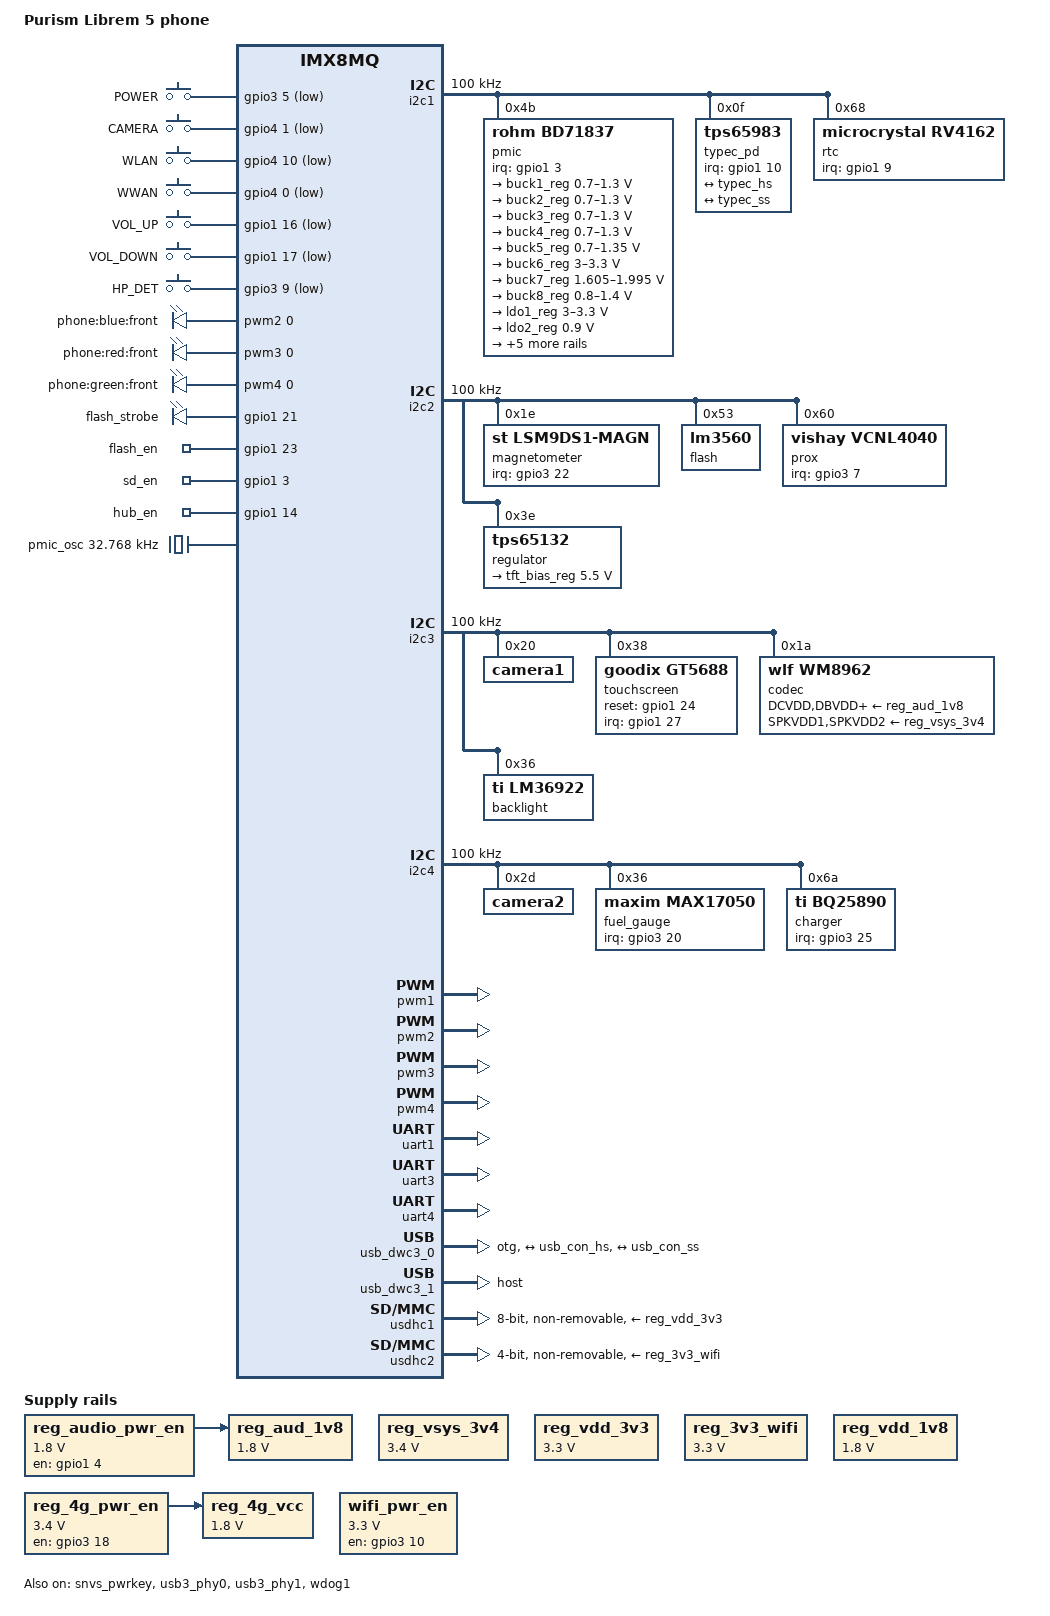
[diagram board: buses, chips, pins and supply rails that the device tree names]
// SPDX-License-Identifier: GPL-2.0+
/*
 * Copyright 2018-2019 Purism SPC
 */

/dts-v1/;

#include "dt-bindings/input/input.h"
#include "dt-bindings/pwm/pwm.h"
#include "dt-bindings/usb/pd.h"
#include "imx8mq.dtsi"

#define GPIO_CONTROL

/ {
	model = "Purism Librem 5 phone";
	compatible = "purism,librem5-phone", "fsl,imx8mq";

	chosen {
		stdout-path = &uart1;
	};

	gpio-keys {
		compatible = "gpio-keys";
		pinctrl-names = "default";
		pinctrl-0 = <&pinctrl_keys>, <&pinctrl_hp>, <&pinctrl_hsw>;

		power {
			label = "POWER";
			gpios = <&gpio3 5 GPIO_ACTIVE_LOW>;
			wakeup-source;
			linux,code = <KEY_POWER>;
		};

		camera {
			label = "CAMERA";
			gpios = <&gpio4 1 GPIO_ACTIVE_LOW>;
			wakeup-source;
			linux,code = <KEY_CAMERA>;
		};

		wlan {
			label = "WLAN";
			gpios = <&gpio4 10 GPIO_ACTIVE_LOW>;
			wakeup-source;
			linux,code = <KEY_WLAN>;
		};

		wwan {
			label = "WWAN";
			gpios = <&gpio4 0 GPIO_ACTIVE_LOW>;
			wakeup-source;
			linux,code = <KEY_WWAN>;
		};

		vol_up {
			label = "VOL_UP";
			gpios = <&gpio1 16 GPIO_ACTIVE_LOW>;
			linux,code = <KEY_VOLUMEUP>;
		};

		vol_down {
			label = "VOL_DOWN";
			gpios = <&gpio1 17 GPIO_ACTIVE_LOW>;
			linux,code = <KEY_VOLUMEDOWN>;
		};

		hp-det {
			label = "HP_DET";
			gpios = <&gpio3 9 GPIO_ACTIVE_LOW>;
			wakeup-source;
			linux,code = <KEY_HP>;
		};
	};

        pwmleds {
                compatible = "pwm-leds";

                blue {
                        active-low;
                        label = "phone:blue:front";
                        max-brightness = <248>;
                        pwms = <&pwm2 0 50000>;
                };

		red {
                        active-low;
                        label = "phone:red:front";
                        max-brightness = <248>;
                        pwms = <&pwm3 0 50000>;
                };
 
		green {
                        active-low;
                        label = "phone:green:front";
                        max-brightness = <248>;
                        pwms = <&pwm4 0 50000>;
                };
        };

	leds {
		compatible = "gpio-leds";
		pinctrl-names = "default";
		pinctrl-0 = <&pinctrl_flash>,
#ifdef GPIO_CONTROL
			<&pinctrl_flash_pwr>, <&pinctrl_hub_pwr>, <&pinctrl_sd_pwr>
#endif
			;

		flash_strobe {
			label = "flash_strobe";
			gpios = <&gpio1 21 GPIO_ACTIVE_HIGH>;
			default-state = "off";
			linux,default-trigger = "flash";
		};
#ifdef GPIO_CONTROL
		flash_en {
			label = "flash_en";
			gpios = <&gpio1 23 GPIO_ACTIVE_HIGH>;
			default-state = "off";
		};

		sd_en {
			label = "sd_en";
			gpios = <&gpio1 3 GPIO_ACTIVE_HIGH>;
			default-state = "off";
		};

		hub_en {
			label = "hub_en";
			gpios = <&gpio1 14 GPIO_ACTIVE_HIGH>;
			default-state = "off";
		};
#endif
	};

	pmic_osc: clock-pmic {
		compatible = "fixed-clock";
		#clock-cells = <0>;
		clock-frequency = <32768>;
		clock-output-names = "pmic_osc";
	};

#if !defined( GPIO_CONTROL )
	reg_flash: regulator-flash {
		compatible = "regulator-fixed";
		pinctrl-names = "default";
		pinctrl-0 = <&pinctrl_flash_pwr>;
		regulator-name = "FLASH_EN";
		regulator-min-microvolt = <3300000>;
		regulator-max-microvolt = <3300000>;
		gpio = <&gpio1 23 GPIO_ACTIVE_HIGH>;
		enable-active-high;
	};

	reg_sd: regulator-sd {
		compatible = "regulator-fixed";
		pinctrl-names = "default";
		pinctrl-0 = <&pinctrl_sd_pwr>;
		regulator-name = "SD";
		regulator-min-microvolt = <3300000>;
		regulator-max-microvolt = <3300000>;
		gpio = <&gpio1 3 GPIO_ACTIVE_HIGH>;
		enable-active-high;
	};

	reg_hub: regulator-hub {
		compatible = "regulator-fixed";
		pinctrl-names = "default";
		pinctrl-0 = <&pinctrl_hub_pwr>;
		regulator-name = "HUB";
		regulator-min-microvolt = <3300000>;
		regulator-max-microvolt = <3300000>;
		gpio = <&gpio1 14 GPIO_ACTIVE_HIGH>;
		enable-active-high;
	};
#endif
	reg_audio_pwr_en: regulator-audio-pwr-en {
		compatible = "regulator-fixed";
		pinctrl-names = "default";
		pinctrl-0 = <&pinctrl_audiopwr>;
		regulator-name = "AUDIO_PWR_EN";
		regulator-min-microvolt = <1800000>;
		regulator-max-microvolt = <1800000>;
		gpio = <&gpio1 4 GPIO_ACTIVE_HIGH>;
		enable-active-high;
	};

	reg_aud_1v8: regulator-audio-v1v8 {
		compatible = "regulator-fixed";
		regulator-name = "aud_1v8";
		regulator-min-microvolt = <1800000>;
		regulator-max-microvolt = <1800000>;
		vin-supply = <&reg_audio_pwr_en>;
	};

	reg_vsys_3v4: regulator-vsys-3v4 {
		compatible = "regulator-fixed";
		regulator-name = "vsys_3v4";
		regulator-min-microvolt = <3400000>;
		regulator-max-microvolt = <3400000>;
		//vin-supply = <&reg_pwr_en>;
	};

	reg_vdd_3v3: regulator-vdd-3v3 {
		compatible = "regulator-fixed";
		regulator-name = "vdd_3v3";
		regulator-min-microvolt = <3300000>;
		regulator-max-microvolt = <3300000>;
	};

	reg_3v3_wifi: regulator-3v3-wifi {
		compatible = "regulator-fixed";
		regulator-name = "3v3_wifi";
		regulator-min-microvolt = <3300000>;
		regulator-max-microvolt = <3300000>;
	};

	reg_vdd_1v8: regulator-vdd-1v8 {
		compatible = "regulator-fixed";
		regulator-name = "vdd_1v8";
		regulator-min-microvolt = <1800000>;
		regulator-max-microvolt = <1800000>;
	};

	reg_4g_pwr_en: regulator-4g-pwr-en {
		compatible = "regulator-fixed";
		pinctrl-names = "default";
		pinctrl-0 = <&pinctrl_wwan_pwr>;
		regulator-name = "4g_pwr_en";
		regulator-min-microvolt = <3400000>;
		regulator-max-microvolt = <3400000>;
		gpio = <&gpio3 18 GPIO_ACTIVE_HIGH>;
		enable-active-high;
	};

	reg_4g_vcc: regulator-4g-vcc {
		compatible = "regulator-fixed";
		regulator-name = "4g_vcc";
		regulator-min-microvolt = <1800000>;
		regulator-max-microvolt = <1800000>;
		vin-supply = <&reg_4g_pwr_en>;
	};
/*
	reg_3v3_p: regulator-3v3-p {
		compatible = "regulator-fixed";
		regulator-name = "3v3_p";
		regulator-min-microvolt = <3300000>;
		regulator-max-microvolt = <3300000>;
		vin-supply = <&reg_pwr_en>;

		regulator-state-mem {
			regulator-on-in-suspend;
		};
	};

	reg_5v_p: regulator-5v-p {
		compatible = "regulator-fixed";
		regulator-name = "5v_p";
		regulator-min-microvolt = <5000000>;
		regulator-max-microvolt = <5000000>;
		vin-supply = <&reg_pwr_en>;

		regulator-state-mem {
			regulator-on-in-suspend;
		};
	};

	reg_22v4_p: regulator-22v4-p  {
		compatible = "regulator-fixed";
		regulator-name = "22v4_P";
		regulator-min-microvolt = <22400000>;
		regulator-max-microvolt = <22400000>;
		vin-supply = <&reg_pwr_en>;
	};

	reg_pwr_en: regulator-pwr-en {
		compatible = "regulator-fixed";
		pinctrl-names = "default";
		pinctrl-0 = <&pinctrl_pwr_en>;
		regulator-name = "PWR_EN";
		regulator-min-microvolt = <3300000>;
		regulator-max-microvolt = <3300000>;
		gpio = <&gpio1 8 GPIO_ACTIVE_HIGH>;
		enable-active-high;
		regulator-always-on;
	};

	reg_usdhc2_vmmc: regulator-usdhc2-vmmc {
		compatible = "regulator-fixed";
		pinctrl-names = "default";
		pinctrl-0 = <&pinctrl_usdhc2_pwr>;
		regulator-name = "VSD_3V3";
		regulator-min-microvolt = <3300000>;
		regulator-max-microvolt = <3300000>;
		gpio = <&gpio2 19 GPIO_ACTIVE_HIGH>;
		enable-active-high;
		regulator-always-on;
	};

	vibrator {
		compatible = "gpio-vibrator";
		pinctrl-names = "default";
		pinctrl-0 = <&pinctrl_haptic>;
	        enable-gpios = <&gpio5 4 GPIO_ACTIVE_LOW>;
		vcc-supply = <&reg_3v3_p>;
	};

*/
	wifi_pwr_en: regulator-wifi-en {
		compatible = "regulator-fixed";
		pinctrl-names = "default";
		pinctrl-0 = <&pinctrl_wifi_pwr>;
		regulator-name = "WIFI_EN";
		regulator-min-microvolt = <3300000>;
		regulator-max-microvolt = <3300000>;
		gpio = <&gpio3 10 GPIO_ACTIVE_HIGH>;
		enable-active-high;
		regulator-always-on;
	};
};

&clk {
	assigned-clocks = <&clk IMX8MQ_AUDIO_PLL1>, <&clk IMX8MQ_AUDIO_PLL2>;
	assigned-clock-rates = <786432000>, <722534400>;
};

&i2c1 {
	clock-frequency = <100000>;
	pinctrl-names = "default";
	pinctrl-0 = <&pinctrl_i2c1>;
	status = "okay";

	pmic: pmic@4b {
		compatible = "rohm,bd71837";
		reg = <0x4b>;
		pinctrl-names = "default";
		pinctrl-0 = <&pinctrl_pmic>;
		clocks = <&pmic_osc>;
		clock-names = "osc";
		clock-output-names = "pmic_clk";
		interrupt-parent = <&gpio1>;
		interrupts = <3 GPIO_ACTIVE_LOW>;
		interrupt-names = "irq";
		rohm,reset-snvs-powered;

		regulators {
			buck1_reg: BUCK1 {
				regulator-name = "buck1";
				regulator-min-microvolt = <700000>;
				regulator-max-microvolt = <1300000>;
				regulator-boot-on;
				regulator-ramp-delay = <1250>;
				rohm,dvs-run-voltage = <900000>;
				rohm,dvs-idle-voltage = <850000>;
				rohm,dvs-suspend-voltage = <800000>;
			};

			buck2_reg: BUCK2 {
				regulator-name = "buck2";
				regulator-min-microvolt = <700000>;
				regulator-max-microvolt = <1300000>;
				regulator-boot-on;
				regulator-ramp-delay = <1250>;
				rohm,dvs-run-voltage = <1000000>;
				rohm,dvs-idle-voltage = <900000>;
			};

			buck3_reg: BUCK3 {
				regulator-name = "buck3";
				regulator-min-microvolt = <700000>;
				regulator-max-microvolt = <1300000>;
				regulator-boot-on;
				rohm,dvs-run-voltage = <1000000>;
			};

			buck4_reg: BUCK4 {
				regulator-name = "buck4";
				regulator-min-microvolt = <700000>;
				regulator-max-microvolt = <1300000>;
				rohm,dvs-run-voltage = <1000000>;
			};

			buck5_reg: BUCK5 {
				regulator-name = "buck5";
				regulator-min-microvolt = <700000>;
				regulator-max-microvolt = <1350000>;
				regulator-boot-on;
			};

			buck6_reg: BUCK6 {
				regulator-name = "buck6";
				regulator-min-microvolt = <3000000>;
				regulator-max-microvolt = <3300000>;
				regulator-boot-on;
			};

			buck7_reg: BUCK7 {
				regulator-name = "buck7";
				regulator-min-microvolt = <1605000>;
				regulator-max-microvolt = <1995000>;
				regulator-boot-on;
			};

			buck8_reg: BUCK8 {
				regulator-name = "buck8";
				regulator-min-microvolt = <800000>;
				regulator-max-microvolt = <1400000>;
				regulator-boot-on;
			};

			ldo1_reg: LDO1 {
				regulator-name = "ldo1";
				regulator-min-microvolt = <3000000>;
				regulator-max-microvolt = <3300000>;
				regulator-boot-on;
				/* leave on for snvs power button */
				regulator-always-on;
			};

			ldo2_reg: LDO2 {
				regulator-name = "ldo2";
				regulator-min-microvolt = <900000>;
				regulator-max-microvolt = <900000>;
				regulator-boot-on;
				/* leave on for snvs power button */
				regulator-always-on;
			};

			ldo3_reg: LDO3 {
				regulator-name = "ldo3";
				regulator-min-microvolt = <1800000>;
				regulator-max-microvolt = <3300000>;
				regulator-boot-on;
			};

			ldo4_reg: LDO4 {
				regulator-name = "ldo4";
				regulator-min-microvolt = <900000>;
				regulator-max-microvolt = <1800000>;
				regulator-boot-on;
			};

			ldo5_reg: LDO5 {
				regulator-name = "ldo5";
				regulator-min-microvolt = <1800000>;
				regulator-max-microvolt = <3300000>;
			};

			ldo6_reg: LDO6 {
				regulator-name = "ldo6";
				regulator-min-microvolt = <900000>;
				regulator-max-microvolt = <1800000>;
				regulator-boot-on;
			};

			ldo7_reg: LDO7 {
				regulator-name = "ldo7";
				regulator-min-microvolt = <1800000>;
				regulator-max-microvolt = <3300000>;
				regulator-boot-on;
			};
		};
	};

	typec_pd: usb_pd@F {
		compatible = "tps65983";
		reg = <0xF>;
		pinctrl-names = "default";
		pinctrl-0 = <&pinctrl_typec>, <&pinctrl_tcpc>;
		interrupt-parent = <&gpio1>;
		interrupts = <10 IRQ_TYPE_LEVEL_LOW>;

		connector {
			compatible = "usb-c-connector";
			label = "USB-C";
			data-role = "dual";
			power-role = "dual";
			try-power-role = "sink";
			source-pdos = <PDO_FIXED(5000, 2000,
				PDO_FIXED_USB_COMM |
				PDO_FIXED_DUAL_ROLE |
				PDO_FIXED_DATA_SWAP )>;
			sink-pdos = <PDO_FIXED(5000, 2000, PDO_FIXED_USB_COMM |
				PDO_FIXED_DUAL_ROLE |
				PDO_FIXED_DATA_SWAP )
			     PDO_VAR(5000, 3000, 3000)>;
			op-sink-microwatt = <10000000>;

			ports {
				#address-cells = <1>;
				#size-cells = <0>;

				port@0 {
					reg = <0>;

					usb_con_hs: endpoint {
						remote-endpoint = <&typec_hs>;
					};
				};

				port@1 {
					reg = <1>;

					usb_con_ss: endpoint {
						remote-endpoint = <&typec_ss>;
					};
				};
			};
		};
	};

	rtc@68 {
		compatible = "microcrystal,rv4162";
		reg = <0x68>;
		pinctrl-names = "default";
		pinctrl-0 = <&pinctrl_rtc>;
		interrupt-parent = <&gpio1>;
		interrupts = <9 IRQ_TYPE_LEVEL_LOW>;
	};
};

&i2c2 {
	clock-frequency = <100000>;
	pinctrl-names = "default";
	pinctrl-0 = <&pinctrl_i2c2>;
	status = "okay";

	magnetometer@1e	{
		compatible = "st,lsm9ds1-magn";
		reg = <0x1e>;
		pinctrl-names = "default";
		pinctrl-0 = <&pinctrl_mag>;
		interrupt-parent = <&gpio3>;
		interrupts = <22 IRQ_TYPE_LEVEL_LOW>;
		//vdd-supply = <&reg_3v3_p>;
		//vddio-supply = <&reg_3v3_p>;
	};

	flash@53 {
		compatible = "lm3560";
		reg = <0x53>;
                flash@0 {
                        reg = <0x0>;
                        flash-timeout-us = <150000>;
                        flash-max-microamp = <320000>;
                        led-max-microamp = <60000>;
                        label = "lm3560:flash";
                };

                torch@1 {
                        reg = <0x1>;
                        led-max-microamp = <10000>;
                        label = "lm3560:torch";
                };

	};
		
	prox@60 {
		compatible = "vishay,vcnl4040", "vishay,vcnl4200";
		reg = <0x60>;
		pinctrl-0 = <&pinctrl_prox>;
		interrupt-parent = <&gpio3>;
		interrupts = <7 IRQ_TYPE_LEVEL_LOW>;
	};

	regulator@3e {
		compatible = "tps65132";
		reg = <0x3e>; 
		regulators {
			tft_bias_reg: tftbias {
				regulator-name = "tft_bias";
				regulator-min-microvolt = <5500000>;
				regulator-max-microvolt = <5500000>;
			};
		};
	};
};

&i2c3 {
	clock-frequency = <100000>;
	pinctrl-names = "default";
	pinctrl-0 = <&pinctrl_i2c3>;
	status = "okay";

	camera1@20 { /* just a placeholder for nuw */
		reg = <0x20>;
	};

	touchscreen@38 { /* just a placeholder for nuw */
		compatible = "goodix,gt5688";
		reg = <0x38>;
		pinctrl-names = "default";
		pinctrl-0 = <&pinctrl_tp>;
		interrupt-parent = <&gpio1>;
		interrupts = <27 IRQ_TYPE_LEVEL_LOW>;
		reset-gpios = <&gpio1 24 GPIO_ACTIVE_HIGH>;
		irq-gpios = <&gpio1 27 GPIO_ACTIVE_HIGH>;
		touchscreen-size-x = <720>;
		touchscreen-size-y = <1440>;
		//AVDD28-supply = <&reg_2v8_p>;
		//VDDIO-supply = <&reg_1v8_p>;
	};

        codec: wm8962@1a {
                compatible = "wlf,wm8962";
                reg = <0x1a>; /* 0x34 ? */
                clocks = <&clk IMX8MQ_CLK_SAI2_ROOT>;
                #sound-dai-cells = <0>;
                DCVDD-supply = <&reg_aud_1v8>;
                DBVDD-supply = <&reg_aud_1v8>;
                AVDD-supply = <&reg_aud_1v8>;
                CPVDD-supply = <&reg_aud_1v8>;
                MICVDD-supply = <&reg_aud_1v8>;
                PLLVDD-supply = <&reg_aud_1v8>;
                SPKVDD1-supply = <&reg_vsys_3v4>;
                SPKVDD2-supply = <&reg_vsys_3v4>;
                gpio-cfg = <
                        0x0000 /* 0:Default */
                        0x0000 /* 1:Default */
                        0x0000 /* 2:Default */
                        0x0000 /* 3:Default */
                        0x0000 /* 4:Default */
                        0x0000 /* 5:Default */
                >;
        };

	backlight@36 {
		compatible = "ti,lm36922";
		reg = <0x36>;
	};

};

&i2c4 {
	clock-frequency = <100000>;
	pinctrl-names = "default";
	pinctrl-0 = <&pinctrl_i2c4>;
	status = "okay";

	camera2@2d { /* just a placeholder for nuw */
		reg = <0x2d>;
	};

	fuel_gauge@36 {
		compatible = "maxim,max17050";
		interrupt-parent = <&gpio3>;
		interrupts = <20 IRQ_TYPE_LEVEL_LOW>;
		pinctrl-names = "default";
		pinctrl-0 = <&pinctrl_gauge>;
		reg = <0x36>;
		maxim,over-heat-temp = <700>;
		maxim,over-volt = <4500>;
	};

	charger@6a { /* bq25895 */
		compatible = "ti,bq25890";
		reg = <0x6a>;
		pinctrl-names = "default";
		pinctrl-0 = <&pinctrl_charger>;
		interrupt-parent = <&gpio3>;
		interrupts = <25 IRQ_TYPE_EDGE_FALLING>;
		ti,battery-regulation-voltage = <4192000>; /* 4.192V */
		ti,charge-current = <1600000>; /* 1.6A */
		ti,termination-current = <66000>;  /* 66mA */
		ti,precharge-current = <130000>; /* 130mA */
		ti,minimum-sys-voltage = <3000000>; /* 3V */
		ti,boost-voltage = <5000000>; /* 5V */
		ti,boost-max-current = <50000>; /* 50mA */
	};
};

&iomuxc {
	pinctrl_pmic_5v: pmic5vgrp {
		fsl,pins = <
			MX8MQ_IOMUXC_GPIO1_IO01_GPIO1_IO1	0x6 /* PMIC_5V */
		>;
	};

	pinctrl_ecspi1: spi1grp {
		fsl,pins = <
			MX8MQ_IOMUXC_ECSPI1_MOSI_ECSPI1_MOSI	0x83
			MX8MQ_IOMUXC_ECSPI1_MISO_ECSPI1_MISO	0x83
			MX8MQ_IOMUXC_ECSPI1_SS0_ECSPI1_SS0	0x19
			MX8MQ_IOMUXC_ECSPI1_SCLK_ECSPI1_SCLK	0x83
			MX8MQ_IOMUXC_UART4_RXD_GPIO5_IO28	0x19 /* SPI_SS1 */
		>;
	};

	pinctrl_uart1: uart1grp {
		fsl,pins = <
			MX8MQ_IOMUXC_UART1_RXD_UART1_DCE_RX	0x49
			MX8MQ_IOMUXC_UART1_TXD_UART1_DCE_TX	0x49
		>;
	};

	pinctrl_uart2: uart2grp {
		fsl,pins = <
			MX8MQ_IOMUXC_UART2_TXD_UART2_DCE_TX	0x49
			MX8MQ_IOMUXC_UART2_RXD_UART2_DCE_RX	0x49
		>;
	};

	pinctrl_uart3: uart3grp {
		fsl,pins = <
			MX8MQ_IOMUXC_UART3_RXD_UART3_DCE_RX	0x49
			MX8MQ_IOMUXC_UART3_TXD_UART3_DCE_TX	0x49
		>;
	};

	pinctrl_uart4: uart4grp {
		fsl,pins = <
			MX8MQ_IOMUXC_ECSPI2_SCLK_UART4_DCE_RX		0x49
			MX8MQ_IOMUXC_ECSPI2_MOSI_UART4_DCE_TX		0x49
			MX8MQ_IOMUXC_ECSPI2_MISO_UART4_DCE_CTS_B	0x49
			MX8MQ_IOMUXC_ECSPI2_SS0_UART4_DCE_RTS_B		0x49
		>;
	};

	pinctrl_sai2: sai2grp {
		fsl,pins = <
			MX8MQ_IOMUXC_SAI2_TXD0_SAI2_TX_DATA0	0xd6
			MX8MQ_IOMUXC_SAI2_TXFS_SAI2_TX_SYNC	0xd6
			MX8MQ_IOMUXC_SAI2_MCLK_SAI2_MCLK	0xd6
			MX8MQ_IOMUXC_SAI2_RXD0_SAI2_RX_DATA0	0xd6
			MX8MQ_IOMUXC_SAI2_TXC_SAI2_TX_BCLK	0xd6
		>;
	};

	pinctrl_sai3: sai3grp {
		fsl,pins = <
			MX8MQ_IOMUXC_SAI3_TXD_SAI3_TX_DATA0	0xd6
			MX8MQ_IOMUXC_SAI3_TXC_SAI3_TX_BCLK	0xd6
			MX8MQ_IOMUXC_SAI3_RXD_SAI3_RX_DATA0	0xd6
			MX8MQ_IOMUXC_SAI3_TXFS_SAI3_TX_SYNC	0xd6
		>;
	};

	pinctrl_sai6: sai6grp {
		fsl,pins = <
			MX8MQ_IOMUXC_SAI1_RXD5_SAI6_RX_DATA0	0xd6
			MX8MQ_IOMUXC_SAI1_RXD6_SAI6_RX_SYNC	0xd6
			MX8MQ_IOMUXC_SAI1_TXD4_SAI6_RX_BCLK     0xd6
			MX8MQ_IOMUXC_SAI1_TXD5_SAI6_TX_DATA0	0xd6
		>;
	};

	pinctrl_led_b: ledbgrp {
		fsl,pins = <
			MX8MQ_IOMUXC_SPDIF_RX_PWM2_OUT		0x06 /* LED_B */
		>;
	};

	pinctrl_led_g: ledggrp {
		fsl,pins = <
			MX8MQ_IOMUXC_SAI3_MCLK_PWM4_OUT		0x06 /* LED_G */
		>;
	};

	pinctrl_led_r: ledrgrp {
		fsl,pins = <
			MX8MQ_IOMUXC_SPDIF_TX_PWM3_OUT		0x06 /* LED_R */
		>;
	};

	pinctrl_mag: maggrp {
		fsl,pins = <
			MX8MQ_IOMUXC_SAI5_RXD1_GPIO3_IO22 	0x80 /* INT_MAG */
		>;
	};

	pinctrl_i2c1: i2c1grp {
		fsl,pins = <
			MX8MQ_IOMUXC_I2C1_SCL_I2C1_SCL		0x4000007f
			MX8MQ_IOMUXC_I2C1_SDA_I2C1_SDA		0x4000007f
		>;
	};

	pinctrl_i2c2: i2c2grp {
		fsl,pins = <
			MX8MQ_IOMUXC_I2C2_SCL_I2C2_SCL		0x4000007f
			MX8MQ_IOMUXC_I2C2_SDA_I2C2_SDA		0x4000007f
		>;
	};

	pinctrl_i2c3: i2c3grp {
		fsl,pins = <
			MX8MQ_IOMUXC_I2C3_SCL_I2C3_SCL		0x4000007f
			MX8MQ_IOMUXC_I2C3_SDA_I2C3_SDA		0x4000007f
		>;
	};
	
	pinctrl_i2c4: i2c4grp {
		fsl,pins = <
			MX8MQ_IOMUXC_I2C4_SCL_I2C4_SCL		0x4000007f
			MX8MQ_IOMUXC_I2C4_SDA_I2C4_SDA		0x4000007f
		>;
	};

	pinctrl_bt: btgrp {
		fsl,pins = <
			MX8MQ_IOMUXC_SAI3_RXC_GPIO4_IO29	0x83 /* BT_REG_ON */
		>;
	};

	pinctrl_charger: chargergrp {
		fsl,pins = <
			MX8MQ_IOMUXC_NAND_CE2_B_GPIO3_IO3	0x80 /* CHRG_INT */
			MX8MQ_IOMUXC_NAND_ALE_GPIO3_IO0		0x80 /* CHG_STATUS_B */
			MX8MQ_IOMUXC_NAND_CE1_B_GPIO3_IO2	0x83 /* CHG_EN */
			MX8MQ_IOMUXC_NAND_CE3_B_GPIO3_IO4	0x83 /* CHG_OTG_OUT_EN */	
		>;
	};

	pinctrl_gauge: gaugegrp {
		fsl,pins = <
			MX8MQ_IOMUXC_SAI5_RXC_GPIO3_IO20	0x80 /* BAT_LOW */
		>;
	};

	pinctrl_nfc: nfcgrp {
		fsl,pins = <
			MX8MQ_IOMUXC_SAI3_RXFS_GPIO4_IO28	0x83 /* NFC_EN */
			MX8MQ_IOMUXC_SAI1_TXC_GPIO4_IO11	0x80 /* NFC_IRQ */
		>;
	};

	pinctrl_hsw: hswgrp {
		fsl,pins = <
			MX8MQ_IOMUXC_SAI1_TXFS_GPIO4_IO10	0x80 /* HSW_WIFI_STATE */
			MX8MQ_IOMUXC_SAI1_RXC_GPIO4_IO1		0x80 /* HSW_CA_STATE */
			MX8MQ_IOMUXC_SAI1_RXFS_GPIO4_IO0	0x80 /* HSW_4G_STATE */
		>;
	};

	pinctrl_wifi: wifigrp {
		fsl,pins = <
			MX8MQ_IOMUXC_SD2_WP_GPIO2_IO20		0x80 /* SDIO_WAKE (WiFi) */
		>;
	};

	pinctrl_wwan_pwr: wwanpwrgrp {
		fsl,pins = <
			MX8MQ_IOMUXC_NAND_WP_B_GPIO3_IO18	0x83 /* 4G_PWR_EN */
		>;
	};

	pinctrl_wwan: wwangrp {
		fsl,pins = <
			MX8MQ_IOMUXC_NAND_CE0_B_GPIO3_IO1	0x83 /* 4G_RESET# */
			MX8MQ_IOMUXC_NAND_RE_B_GPIO3_IO15	0x80 /* 4G_WAKE */
			MX8MQ_IOMUXC_NAND_READY_B_GPIO3_IO16	0x83 /* 4G_W_DISABLE */
			MX8MQ_IOMUXC_NAND_DATA07_GPIO3_IO13	0x83 /* 4G_W_DIS2 */
		>;
	};

	pinctrl_keys: keysgrp {
		fsl,pins = <
			MX8MQ_IOMUXC_NAND_CLE_GPIO3_IO5		0x80 /* PWR_KEY */
			MX8MQ_IOMUXC_ENET_MDIO_GPIO1_IO17	0x80 /* VOL- */
			MX8MQ_IOMUXC_ENET_MDC_GPIO1_IO16	0x80 /* VOL+ */
		>;
	};

	pinctrl_camera: cameragrp {
		fsl,pins = <
			MX8MQ_IOMUXC_GPIO1_IO15_CCMSRCGPCMIX_CLKO2      0x1f /* CLKO2 cameras */
		>;
	};

	pinctrl_prox: proxgrp {
		fsl,pins = <
			MX8MQ_IOMUXC_NAND_DATA01_GPIO3_IO7	0x80 /* INT_LIGHT */
		>;
	};

	pinctrl_hp: hpgrp {
		fsl,pins = <
			MX8MQ_IOMUXC_NAND_DATA03_GPIO3_IO9	0x180 /* HEADPHONE_DET_1V8 */
		>;
	};

	pinctrl_hub_pwr: hubpwrgrp {
		fsl,pins = <
			MX8MQ_IOMUXC_GPIO1_IO14_GPIO1_IO14	0x83 /* HUB_PWR_3V3_EN */
		>;
	};

	pinctrl_usb: usbgrp {
		fsl,pins = <
			MX8MQ_IOMUXC_NAND_CE3_B_GPIO3_IO4	0x83 /* CHG_OTG_OUT_EN */
			MX8MQ_IOMUXC_GPIO1_IO12_GPIO1_IO12	0x83 /* HUB_RESET */
			MX8MQ_IOMUXC_SAI5_RXFS_GPIO3_IO19	0x83 /* CHG_USB_DSEL */
		>;
	};

	pinctrl_wifi_pwr: wifipwrgrp {
		fsl,pins = <
			 MX8MQ_IOMUXC_NAND_DATA04_GPIO3_IO10	0x83 /* WIFI3V3_EN */
		>;
	};

	pinctrl_gpspwr: gpspwrgrp {
		fsl,pins = <
			MX8MQ_IOMUXC_NAND_DATA06_GPIO3_IO12	0x83 /* GPS3V3_EN */
		>;
	};

	pinctrl_gps: gpsgrp {
		fsl,pins = <
			MX8MQ_IOMUXC_GPIO1_IO08_GPIO1_IO8	0x83 /* GPS_RST */
		>;
	};

	pinctrl_haptic: hapticgrp {
		fsl,pins = <
			MX8MQ_IOMUXC_SPDIF_EXT_CLK_PWM1_OUT	0x83 /* MOTO */
		>;
	};

	pinctrl_usdhc1: usdhc1grp {
		fsl,pins = <
			MX8MQ_IOMUXC_SD1_CLK_USDHC1_CLK			0x83
			MX8MQ_IOMUXC_SD1_CMD_USDHC1_CMD			0xc3
			MX8MQ_IOMUXC_SD1_DATA0_USDHC1_DATA0		0xc3
			MX8MQ_IOMUXC_SD1_DATA1_USDHC1_DATA1		0xc3
			MX8MQ_IOMUXC_SD1_DATA2_USDHC1_DATA2		0xc3
			MX8MQ_IOMUXC_SD1_DATA3_USDHC1_DATA3		0xc3
			MX8MQ_IOMUXC_SD1_DATA4_USDHC1_DATA4		0xc3
			MX8MQ_IOMUXC_SD1_DATA5_USDHC1_DATA5		0xc3
			MX8MQ_IOMUXC_SD1_DATA6_USDHC1_DATA6		0xc3
			MX8MQ_IOMUXC_SD1_DATA7_USDHC1_DATA7		0xc3
			MX8MQ_IOMUXC_SD1_STROBE_USDHC1_STROBE		0x83
			MX8MQ_IOMUXC_SD1_RESET_B_USDHC1_RESET_B		0xc1
		>;
	};

	pinctrl_usdhc1_100mhz: usdhc1grp100mhz {
		fsl,pins = <
			MX8MQ_IOMUXC_SD1_CLK_USDHC1_CLK			0x8d
			MX8MQ_IOMUXC_SD1_CMD_USDHC1_CMD			0xcd
			MX8MQ_IOMUXC_SD1_DATA0_USDHC1_DATA0		0xcd
			MX8MQ_IOMUXC_SD1_DATA1_USDHC1_DATA1		0xcd
			MX8MQ_IOMUXC_SD1_DATA2_USDHC1_DATA2		0xcd
			MX8MQ_IOMUXC_SD1_DATA3_USDHC1_DATA3		0xcd
			MX8MQ_IOMUXC_SD1_DATA4_USDHC1_DATA4		0xcd
			MX8MQ_IOMUXC_SD1_DATA5_USDHC1_DATA5		0xcd
			MX8MQ_IOMUXC_SD1_DATA6_USDHC1_DATA6		0xcd
			MX8MQ_IOMUXC_SD1_DATA7_USDHC1_DATA7		0xcd
			MX8MQ_IOMUXC_SD1_STROBE_USDHC1_STROBE		0x8d
			MX8MQ_IOMUXC_SD1_RESET_B_USDHC1_RESET_B		0xc1
		>;
	};

	pinctrl_usdhc1_200mhz: usdhc1grp200mhz {
		fsl,pins = <
			MX8MQ_IOMUXC_SD1_CLK_USDHC1_CLK			0x9f
			MX8MQ_IOMUXC_SD1_CMD_USDHC1_CMD			0xdf
			MX8MQ_IOMUXC_SD1_DATA0_USDHC1_DATA0		0xdf
			MX8MQ_IOMUXC_SD1_DATA1_USDHC1_DATA1		0xdf
			MX8MQ_IOMUXC_SD1_DATA2_USDHC1_DATA2		0xdf
			MX8MQ_IOMUXC_SD1_DATA3_USDHC1_DATA3		0xdf
			MX8MQ_IOMUXC_SD1_DATA4_USDHC1_DATA4		0xdf
			MX8MQ_IOMUXC_SD1_DATA5_USDHC1_DATA5		0xdf
			MX8MQ_IOMUXC_SD1_DATA6_USDHC1_DATA6		0xdf
			MX8MQ_IOMUXC_SD1_DATA7_USDHC1_DATA7		0xdf
			MX8MQ_IOMUXC_SD1_STROBE_USDHC1_STROBE		0x9f
			MX8MQ_IOMUXC_SD1_RESET_B_USDHC1_RESET_B		0xc1
		>;
	};

	pinctrl_usdhc2: usdhc2grp {
		fsl,pins = <
			MX8MQ_IOMUXC_SD2_CD_B_USDHC2_CD_B	0x80
			MX8MQ_IOMUXC_SD2_CLK_USDHC2_CLK		0x83
			MX8MQ_IOMUXC_SD2_CMD_USDHC2_CMD		0xc3
			MX8MQ_IOMUXC_SD2_DATA0_USDHC2_DATA0	0xc3
			MX8MQ_IOMUXC_SD2_DATA1_USDHC2_DATA1	0xc3
			MX8MQ_IOMUXC_SD2_DATA2_USDHC2_DATA2	0xc3
			MX8MQ_IOMUXC_SD2_DATA3_USDHC2_DATA3	0xc3
			MX8MQ_IOMUXC_SD2_RESET_B_USDHC2_RESET_B 0xc1
		>;
	};

	pinctrl_usdhc2_100mhz: usdhc2grp100mhz {
		fsl,pins = <
			MX8MQ_IOMUXC_SD2_CD_B_USDHC2_CD_B	0x80
			MX8MQ_IOMUXC_SD2_CLK_USDHC2_CLK		0x8d
			MX8MQ_IOMUXC_SD2_CMD_USDHC2_CMD		0xcd
			MX8MQ_IOMUXC_SD2_DATA0_USDHC2_DATA0	0xcd
			MX8MQ_IOMUXC_SD2_DATA1_USDHC2_DATA1	0xcd
			MX8MQ_IOMUXC_SD2_DATA2_USDHC2_DATA2	0xcd
			MX8MQ_IOMUXC_SD2_DATA3_USDHC2_DATA3	0xcd
			MX8MQ_IOMUXC_SD2_RESET_B_USDHC2_RESET_B 0xc1
		>;
	};

	pinctrl_usdhc2_200mhz: usdhc2grp200mhz {
		fsl,pins = <
			MX8MQ_IOMUXC_SD2_CD_B_USDHC2_CD_B	0x80
			MX8MQ_IOMUXC_SD2_CLK_USDHC2_CLK		0x9f
			MX8MQ_IOMUXC_SD2_CMD_USDHC2_CMD		0xcf
			MX8MQ_IOMUXC_SD2_DATA0_USDHC2_DATA0	0xcf
			MX8MQ_IOMUXC_SD2_DATA1_USDHC2_DATA1	0xcf
			MX8MQ_IOMUXC_SD2_DATA2_USDHC2_DATA2	0xcf
			MX8MQ_IOMUXC_SD2_DATA3_USDHC2_DATA3	0xcf
			MX8MQ_IOMUXC_SD2_RESET_B_USDHC2_RESET_B 0xc1
		>;
	};

	pinctrl_rtc: rtcgrp {
		fsl,pins = <
			MX8MQ_IOMUXC_GPIO1_IO09_GPIO1_IO9	0x80 /* RTC_INT */
		>;
	};

	pinctrl_tcpc: tcpcgrp {
		fsl,pins = <
			MX8MQ_IOMUXC_GPIO1_IO10_GPIO1_IO10	0x80 /* TCPC_INT */
		>;
	};

	pinctrl_typec: typecgrp {
		fsl,pins = <
			MX8MQ_IOMUXC_GPIO1_IO11_GPIO1_IO11	0x83 /* TYPEC_MUX_EN */
		>;
	};

	pinctrl_bl: blgrp {
		fsl,pins = <
			MX8MQ_IOMUXC_NAND_DQS_GPIO3_IO14	0x83 /* BACKLINGE_EN */	
		>;
	};

	pinctrl_smc: smcgrp {
		fsl,pins = <
			MX8MQ_IOMUXC_GPIO1_IO06_GPIO1_IO6	0x83 /* SMC_PWR_3V3_EN (smrt crd) */	
		>;
	};

	pinctrl_pmic: pmicgrp {
		fsl,pins = <
			MX8MQ_IOMUXC_GPIO1_IO07_GPIO1_IO7	0x80 /* PMIC_NINT */
		>;
	};

	pinctrl_sd_pwr: sdpwrgrp {
		fsl,pins = <
			MX8MQ_IOMUXC_GPIO1_IO03_GPIO1_IO3	0x83 /* TF_PWR_3V3_EN */
		>;
	};

	pinctrl_audiopwr: audiopwrgrp {
		fsl,pins = <
			MX8MQ_IOMUXC_GPIO1_IO04_GPIO1_IO4	0x83 /* AUDIO_POWER_EN_3V3 */	
		>;
	};

	pinctrl_dsipwr: dsipwrgrp {
		fsl,pins = <
			MX8MQ_IOMUXC_GPIO1_IO05_GPIO1_IO5       0x83 /* DSI_EN_3V3 */
			MX8MQ_IOMUXC_ENET_TD1_GPIO1_IO20	0x83 /* DSI_BIAS_EN */
			MX8MQ_IOMUXC_ENET_RD2_GPIO1_IO28	0x83 /* DSI_TE */
			MX8MQ_IOMUXC_ENET_RD3_GPIO1_IO29	0x83 /* DSI_RST */
		>;
	};

	pinctrl_hall: hallgrp {
		fsl,pins = <
			MX8MQ_IOMUXC_ENET_TD3_GPIO1_IO18	0x80 /* HALL */		
		>;
	};

	pinctrl_wdog: wdoggrp {
		fsl,pins = <
			MX8MQ_IOMUXC_GPIO1_IO02_GPIO1_IO2	0x80 /* nWDOG */
		>;
	};

	pinctrl_flash_pwr: flashpwrgrp {
		fsl,pins = <
			MX8MQ_IOMUXC_ENET_TXC_GPIO1_IO23	0x83 /* FLASH_EN */
		>;
	};

	pinctrl_flash: flashgrp {
		fsl,pins = <
			MX8MQ_IOMUXC_ENET_TD0_GPIO1_IO21	0x83 /* FLASH_STROBE */
		>;
	};

	pinctrl_camera_pwr: camerapwrgrp {
		fsl,pins = <
			MX8MQ_IOMUXC_GPIO1_IO00_GPIO1_IO0	0x83 /* CAMERA_PWR_EN_3V3 */
		>;
	};

	pinctrl_csi: csigrp {
		fsl,pins = <
			MX8MQ_IOMUXC_ENET_RXC_GPIO1_IO25	0x83 /* CSI1_NRST */
			MX8MQ_IOMUXC_ENET_RD0_GPIO1_IO26	0x83 /* CSI2_NRST */
		>;
	};

	pinctrl_tp: tpgrp {
		fsl,pins = <
			MX8MQ_IOMUXC_ENET_RX_CTL_GPIO1_IO24	0x83 /* TP_RST */
			MX8MQ_IOMUXC_ENET_RD1_GPIO1_IO27	0x83 /* TP_INT */
		>;
	};

};

&pgc_gpu {
	power-supply = <&buck3_reg>;
};

&pgc_mipi {
	power-supply = <&ldo5_reg>;
};

&pgc_vpu {
	power-supply = <&buck4_reg>;
};

&pwm1 {
	pinctrl-names = "default";
	pinctrl-0 = <&pinctrl_haptic>;
	status = "okay";
};

&pwm2 {
	pinctrl-names = "default";
	pinctrl-0 = <&pinctrl_led_b>;
	status = "okay";
};

&pwm3 {
	pinctrl-names = "default";
	pinctrl-0 = <&pinctrl_led_g>;
	status = "okay";
};

&pwm4 {
	pinctrl-names = "default";
	pinctrl-0 = <&pinctrl_led_r>;
	status = "okay";
};

&snvs_pwrkey {
	status = "okay";
};

&uart1 { /* console */
	pinctrl-names = "default";
	pinctrl-0 = <&pinctrl_uart1>;
	status = "okay";
};

&uart3 { /* GNSS */
	pinctrl-names = "default";
	pinctrl-0 = <&pinctrl_uart3>;
	status = "okay";
};

&uart4 { /* BT */
	pinctrl-names = "default";
	pinctrl-0 = <&pinctrl_uart4>;
	uart-has-rtscts;
	status = "okay";
};

&usb3_phy0 {
	status = "okay";
};

&usb3_phy1 {
	//vbus-supply = <&reg_5v_p>;
	status = "okay";
};

&usb_dwc3_0 {
	#address-cells = <1>;
	#size-cells = <0>;
	dr_mode = "otg";
	status = "okay";

	port@0 {
		reg = <0>;

		typec_hs: endpoint {
			remote-endpoint = <&usb_con_hs>;
		};
	};

	port@1 {
		reg = <1>;

		typec_ss: endpoint {
			remote-endpoint = <&usb_con_ss>;
		};
	};
};

&usb_dwc3_1 {
	dr_mode = "host";
	status = "okay";
};

&usdhc1 {
	pinctrl-names = "default", "state_100mhz", "state_200mhz";
	pinctrl-0 = <&pinctrl_usdhc1>;
	pinctrl-1 = <&pinctrl_usdhc1_100mhz>;
	pinctrl-2 = <&pinctrl_usdhc1_200mhz>;
	bus-width = <8>;
	vmmc-supply = <&reg_vdd_3v3>;
	power-supply = <&reg_vdd_1v8>;
	non-removable;
	status = "okay";
};

&usdhc2 {
	pinctrl-names = "default", "state_100mhz", "state_200mhz";
	pinctrl-0 = <&pinctrl_usdhc2>;
	pinctrl-1 = <&pinctrl_usdhc2_100mhz>;
	pinctrl-2 = <&pinctrl_usdhc2_200mhz>;
	bus-width = <4>;
	vmmc-supply = <&reg_3v3_wifi>;
	non-removable;
	disable-wp;
	cap-sdio-irq;
	keep-power-in-suspend;
	wakeup-source;
	status = "okay";
};

&wdog1 {
	pinctrl-names = "default";
	pinctrl-0 = <&pinctrl_wdog>;
	fsl,ext-reset-output;
	status = "okay";
};
